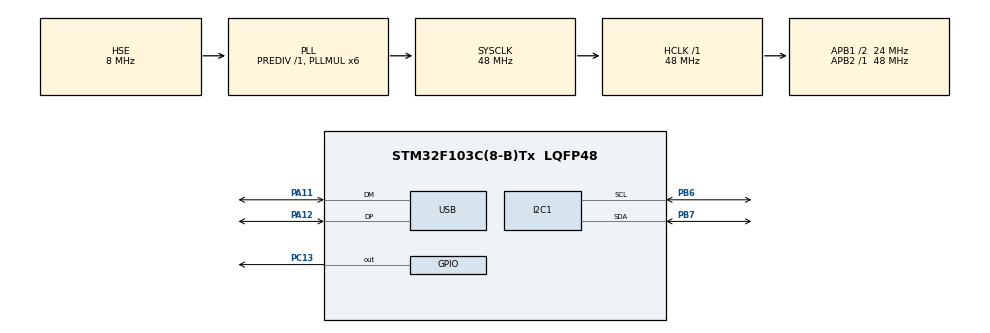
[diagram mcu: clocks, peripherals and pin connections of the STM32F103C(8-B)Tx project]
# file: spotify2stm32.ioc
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Mcu.Family=STM32F1
Mcu.Name=STM32F103C(8-B)Tx
Mcu.Package=LQFP48
NVIC.I2C1_ER_IRQn=true\:0\:0\:false\:false\:true\:true\:true
NVIC.I2C1_EV_IRQn=true\:0\:0\:false\:false\:true\:true\:true
NVIC.PriorityGroup=NVIC_PRIORITYGROUP_4
NVIC.USB_HP_CAN1_TX_IRQn=true\:0\:0\:false\:false\:true\:true\:true
NVIC.USB_LP_CAN1_RX0_IRQn=true\:0\:0\:false\:false\:true\:false\:true
PA11.Mode=Device
PA11.Signal=USB_DM
PA12.Mode=Device
PA12.Signal=USB_DP
PA13.Mode=Serial_Wire
PA13.Signal=SYS_JTMS-SWDIO
PA14.Mode=Serial_Wire
PA14.Signal=SYS_JTCK-SWCLK
PB6.Mode=I2C
PB6.Signal=I2C1_SCL
PB7.Mode=I2C
PB7.Signal=I2C1_SDA
PC13-TAMPER-RTC.Signal=GPIO_Output
PD0-OSC_IN.Mode=HSE-External-Oscillator
PD0-OSC_IN.Signal=RCC_OSC_IN
PD1-OSC_OUT.Mode=HSE-External-Oscillator
PD1-OSC_OUT.Signal=RCC_OSC_OUT
ProjectManager.HeapSize=0x200
ProjectManager.StackSize=0x400
ProjectManager.TargetToolchain=STM32CubeIDE
RCC.AHBFreq_Value=48000000
RCC.APB1CLKDivider=RCC_HCLK_DIV2
RCC.APB1Freq_Value=24000000
RCC.APB1TimFreq_Value=48000000
RCC.APB2Freq_Value=48000000
RCC.APB2TimFreq_Value=48000000
RCC.HCLKFreq_Value=48000000
RCC.PLLMUL=RCC_PLL_MUL6
RCC.SYSCLKFreq_VALUE=48000000
RCC.SYSCLKSource=RCC_SYSCLKSOURCE_PLLCLK
RCC.USBFreq_Value=48000000
USB_DEVICE.CLASS_NAME_FS=CDC
USB_DEVICE.VirtualMode=Cdc
USB_DEVICE.VirtualModeFS=Cdc_FS
VP_USB_DEVICE_VS_USB_DEVICE_CDC_FS.Mode=CDC_FS
board=custom

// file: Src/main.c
/* USER CODE BEGIN Header */
/**
  ******************************************************************************
  * @file           : main.c
  * @brief          : Main program body
  ******************************************************************************
  * @attention
  *
  * <h2><center>&copy; Copyright (c) 2021 STMicroelectronics.
  * All rights reserved.</center></h2>
  *
  * This software component is licensed by ST under BSD 3-Clause license,
  * the "License"; You may not use this file except in compliance with the
  * License. You may obtain a copy of the License at:
  *                        opensource.org/licenses/BSD-3-Clause
  *
  ******************************************************************************
  */
/* USER CODE END Header */
#include "main.h"
#include "usb_device.h"
#include "string.h"

/* USER CODE BEGIN Includes */
#include "i2c-lcd.h"
/* USER CODE END Includes */

I2C_HandleTypeDef hi2c1;

/* USER CODE BEGIN PV */
char ReceivedData[41]; // Tablica przechowujaca odebrane dane
uint8_t ReceivedDataFlag = 0; // Flaga informujaca o odebraniu danych
uint8_t msgtoggle=0;
/* USER CODE END PV */

void SystemClock_Config(void);
static void MX_GPIO_Init(void);
static void MX_I2C1_Init(void);

int main(void)
{

  /* MCU Configuration--------------------------------------------------------*/

  /* Reset of all peripherals, Initializes the Flash interface and the Systick. */
  HAL_Init();

  /* Configure the system clock */
  SystemClock_Config();

  /* Initialize all configured peripherals */
  MX_GPIO_Init();
  MX_USB_DEVICE_Init();
  MX_I2C1_Init();
  /* USER CODE BEGIN 2 */
  lcd_init();
  HAL_Delay(10);
  lcd_send_cmd (0x80|0x00);
  lcd_send_string("HELLO WORLD");
  HAL_Delay(10);
  lcd_send_cmd (0x80|0x40);
  lcd_send_string("LCD 20x4 DEMO");
  HAL_Delay(10);
  lcd_send_cmd (0x80|0x1C);
  lcd_send_string("BY");
  HAL_Delay(10);
  lcd_send_cmd (0x80|0x54);
  lcd_send_string("JKL!");
  HAL_Delay(10);
  /* USER CODE END 2 */

  /* Infinite loop */
  /* USER CODE BEGIN WHILE */
  while (1)
  {

	 	  if(ReceivedDataFlag == 1){
	 	 	ReceivedDataFlag = 0;

	 	 	HAL_GPIO_TogglePin(GPIOC, GPIO_PIN_13);
	 	 	if(msgtoggle==0){
	 	 		lcd_send_cmd (0x80|0x00);
	 	 		msgtoggle=1;
	 	 	}
	 	 	else{
	 	 		lcd_send_cmd (0x80|0x40);
	 	 		msgtoggle=0;
	 	 	}

	 	 	//lcd_send_string("line1line1line1line1line2line2line2line2line3line3line3line3line4line4line4line4");
	 	 	lcd_send_string(ReceivedData);
	 	 	HAL_Delay(10);
	 	 }
    /* USER CODE END WHILE */

  }
}

void SystemClock_Config(void)
{
  RCC_OscInitTypeDef RCC_OscInitStruct = {0};
  RCC_ClkInitTypeDef RCC_ClkInitStruct = {0};
  RCC_PeriphCLKInitTypeDef PeriphClkInit = {0};

  /** Initializes the RCC Oscillators according to the specified parameters
  * in the RCC_OscInitTypeDef structure.
  */
  RCC_OscInitStruct.OscillatorType = RCC_OSCILLATORTYPE_HSE;
  RCC_OscInitStruct.HSEState = RCC_HSE_ON;
  RCC_OscInitStruct.HSEPredivValue = RCC_HSE_PREDIV_DIV1;
  RCC_OscInitStruct.HSIState = RCC_HSI_ON;
  RCC_OscInitStruct.PLL.PLLState = RCC_PLL_ON;
  RCC_OscInitStruct.PLL.PLLSource = RCC_PLLSOURCE_HSE;
  RCC_OscInitStruct.PLL.PLLMUL = RCC_PLL_MUL6;
  if (HAL_RCC_OscConfig(&RCC_OscInitStruct) != HAL_OK)
  {
    Error_Handler();
  }
  /** Initializes the CPU, AHB and APB buses clocks
  */
  RCC_ClkInitStruct.ClockType = RCC_CLOCKTYPE_HCLK|RCC_CLOCKTYPE_SYSCLK
                              |RCC_CLOCKTYPE_PCLK1|RCC_CLOCKTYPE_PCLK2;
  RCC_ClkInitStruct.SYSCLKSource = RCC_SYSCLKSOURCE_PLLCLK;
  RCC_ClkInitStruct.AHBCLKDivider = RCC_SYSCLK_DIV1;
  RCC_ClkInitStruct.APB1CLKDivider = RCC_HCLK_DIV2;
  RCC_ClkInitStruct.APB2CLKDivider = RCC_HCLK_DIV1;

  if (HAL_RCC_ClockConfig(&RCC_ClkInitStruct, FLASH_LATENCY_1) != HAL_OK)
  {
    Error_Handler();
  }
  PeriphClkInit.PeriphClockSelection = RCC_PERIPHCLK_USB;
  PeriphClkInit.UsbClockSelection = RCC_USBCLKSOURCE_PLL;
  if (HAL_RCCEx_PeriphCLKConfig(&PeriphClkInit) != HAL_OK)
  {
    Error_Handler();
  }
}

static void MX_I2C1_Init(void)
{

  hi2c1.Instance = I2C1;
  hi2c1.Init.ClockSpeed = 100000;
  hi2c1.Init.DutyCycle = I2C_DUTYCYCLE_2;
  hi2c1.Init.OwnAddress1 = 0;
  hi2c1.Init.AddressingMode = I2C_ADDRESSINGMODE_7BIT;
  hi2c1.Init.DualAddressMode = I2C_DUALADDRESS_DISABLE;
  hi2c1.Init.OwnAddress2 = 0;
  hi2c1.Init.GeneralCallMode = I2C_GENERALCALL_DISABLE;
  hi2c1.Init.NoStretchMode = I2C_NOSTRETCH_DISABLE;
  if (HAL_I2C_Init(&hi2c1) != HAL_OK)
  {
    Error_Handler();
  }

}

static void MX_GPIO_Init(void)
{
  GPIO_InitTypeDef GPIO_InitStruct = {0};

  /* GPIO Ports Clock Enable */
  __HAL_RCC_GPIOC_CLK_ENABLE();
  __HAL_RCC_GPIOD_CLK_ENABLE();
  __HAL_RCC_GPIOA_CLK_ENABLE();
  __HAL_RCC_GPIOB_CLK_ENABLE();

  /*Configure GPIO pin Output Level */
  HAL_GPIO_WritePin(GPIOC, GPIO_PIN_13, GPIO_PIN_RESET);

  /*Configure GPIO pin : PC13 */
  GPIO_InitStruct.Pin = GPIO_PIN_13;
  GPIO_InitStruct.Mode = GPIO_MODE_OUTPUT_PP;
  GPIO_InitStruct.Pull = GPIO_NOPULL;
  GPIO_InitStruct.Speed = GPIO_SPEED_FREQ_LOW;
  HAL_GPIO_Init(GPIOC, &GPIO_InitStruct);

}

void Error_Handler(void)
{
}

/************************ (C) COPYRIGHT STMicroelectronics *****END OF FILE****/
